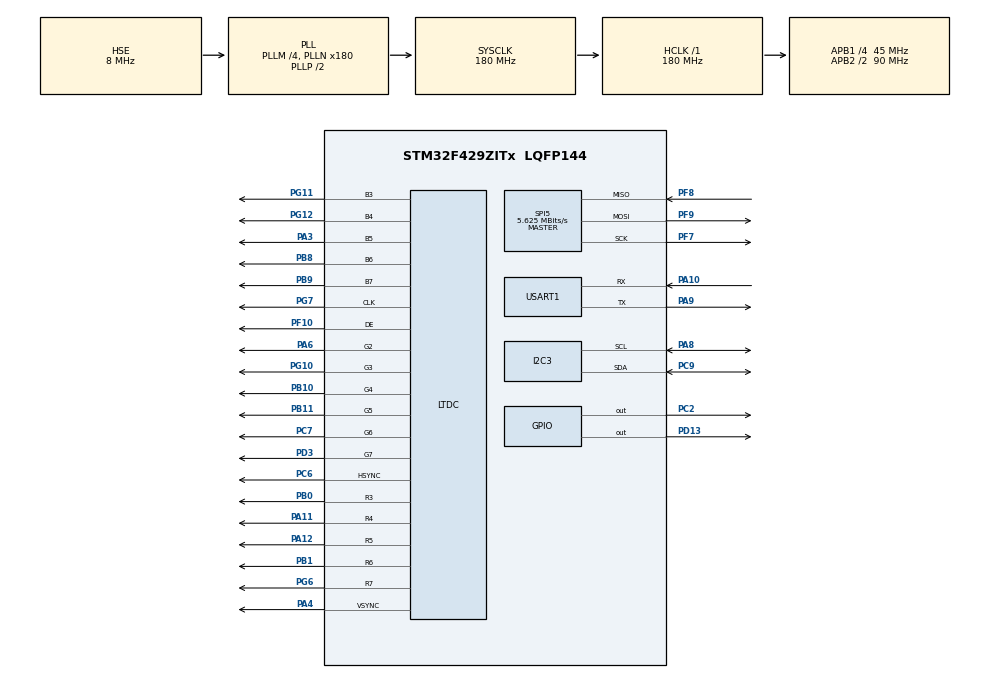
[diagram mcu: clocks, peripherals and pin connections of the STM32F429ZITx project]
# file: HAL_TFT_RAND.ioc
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LTDC.ActiveH=320
LTDC.ActiveW=240
LTDC.Alpha_L0=255
LTDC.HBP=20
LTDC.HFP=10
LTDC.HSync=10
LTDC.ImageHeight_L0=320
LTDC.ImageWidth_L0=240
LTDC.Layers=0
LTDC.PixelFormat_L0=LTDC_PIXEL_FORMAT_RGB565
LTDC.VFP=4
LTDC.VSync=2
LTDC.WindowX1_L0=240
LTDC.WindowY1_L0=320
Mcu.Family=STM32F4
Mcu.Name=STM32F429ZITx
Mcu.Package=LQFP144
NVIC.PriorityGroup=NVIC_PRIORITYGROUP_4
PA10.Mode=Asynchronous
PA10.Signal=USART1_RX
PA11.Mode=RGB565
PA11.Signal=LTDC_R4
PA12.Mode=RGB565
PA12.Signal=LTDC_R5
PA3.Mode=RGB565
PA3.Signal=LTDC_B5
PA4.Mode=RGB565
PA4.Signal=LTDC_VSYNC
PA6.Mode=RGB565
PA6.Signal=LTDC_G2
PA8.Mode=I2C
PA8.Signal=I2C3_SCL
PA9.Mode=Asynchronous
PA9.Signal=USART1_TX
PB0.Mode=RGB565
PB0.Signal=LTDC_R3
PB1.Mode=RGB565
PB1.Signal=LTDC_R6
PB10.Mode=RGB565
PB10.Signal=LTDC_G4
PB11.Mode=RGB565
PB11.Signal=LTDC_G5
PB8.Mode=RGB565
PB8.Signal=LTDC_B6
PB9.Mode=RGB565
PB9.Signal=LTDC_B7
PC2.Signal=GPIO_Output
PC6.Mode=RGB565
PC6.Signal=LTDC_HSYNC
PC7.Mode=RGB565
PC7.Signal=LTDC_G6
PC9.Mode=I2C
PC9.Signal=I2C3_SDA
PD13.Signal=GPIO_Output
PD3.Mode=RGB565
PD3.Signal=LTDC_G7
PF10.Mode=RGB565
PF10.Signal=LTDC_DE
PF7.Mode=Full_Duplex_Master
PF7.Signal=SPI5_SCK
PF8.Mode=Full_Duplex_Master
PF8.Signal=SPI5_MISO
PF9.Mode=Full_Duplex_Master
PF9.Signal=SPI5_MOSI
PG10.Mode=RGB565
PG10.Signal=LTDC_G3
PG11.Mode=RGB565
PG11.Signal=LTDC_B3
PG12.Mode=RGB565
PG12.Signal=LTDC_B4
PG6.Mode=RGB565
PG6.Signal=LTDC_R7
PG7.Mode=RGB565
PG7.Signal=LTDC_CLK
PH0/OSC_IN.Mode=HSE-External-Oscillator
PH0/OSC_IN.Signal=RCC_OSC_IN
PH1/OSC_OUT.Mode=HSE-External-Oscillator
PH1/OSC_OUT.Signal=RCC_OSC_OUT
ProjectManager.HeapSize=0x200
ProjectManager.StackSize=0x400
ProjectManager.TargetToolchain=TrueSTUDIO
RCC.48MHZClocksFreq_Value=90000000
RCC.AHBFreq_Value=180000000
RCC.APB1CLKDivider=RCC_HCLK_DIV4
RCC.APB1Freq_Value=45000000
RCC.APB1TimFreq_Value=90000000
RCC.APB2CLKDivider=RCC_HCLK_DIV2
RCC.APB2Freq_Value=90000000
RCC.APB2TimFreq_Value=180000000
RCC.CortexFreq_Value=180000000
RCC.HCLKFreq_Value=180000000
RCC.HSE_VALUE=8000000
RCC.HSI_VALUE=16000000
RCC.LSE_VALUE=32768
RCC.PLLM=4
RCC.PLLN=180
RCC.PLLSAIDivR=RCC_PLLSAIDIVR_4
RCC.PLLSAIN=60
RCC.PLLSAIR=5
RCC.PLLSourceVirtual=RCC_PLLSOURCE_HSE
RCC.SYSCLKFreq_VALUE=180000000
RCC.SYSCLKSource=RCC_SYSCLKSOURCE_PLLCLK
RCC.VCOOutputFreq_Value=360000000
SPI5.BaudRatePrescaler=SPI_BAUDRATEPRESCALER_16
SPI5.CalculateBaudRate=5.625 MBits/s
SPI5.Direction=SPI_DIRECTION_2LINES
SPI5.Mode=SPI_MODE_MASTER
SPI5.VirtualType=VM_MASTER
USART1.VirtualMode=VM_ASYNC
board=custom

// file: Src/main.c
/* USER CODE BEGIN Header */
/**
  ******************************************************************************
  * @file           : main.c
  * @brief          : Main program body
  ******************************************************************************
  * @attention
  *
  * <h2><center>&copy; Copyright (c) 2019 STMicroelectronics.
  * All rights reserved.</center></h2>
  *
  * This software component is licensed by ST under BSD 3-Clause license,
  * the "License"; You may not use this file except in compliance with the
  * License. You may obtain a copy of the License at:
  *                        opensource.org/licenses/BSD-3-Clause
  *
  ******************************************************************************
  */
/* USER CODE END Header */

#include "main.h"

/* USER CODE BEGIN Includes */
#include "lcd_ili9341.h"
#include "stm32f429i_discovery_ts.h"
#include <stdio.h>
#include <stdlib.h>
/* USER CODE END Includes */

/* USER CODE BEGIN PTD */
#define swap(a,b) {int16_t t=a; a=b; b=t;}
/* USER CODE END PTD */

I2C_HandleTypeDef hi2c3;

LTDC_HandleTypeDef hltdc;

SPI_HandleTypeDef hspi5;

UART_HandleTypeDef huart1;

void SystemClock_Config(void);
static void MX_GPIO_Init(void);
static void MX_LTDC_Init(void);
static void MX_SPI5_Init(void);
static void MX_USART1_UART_Init(void);
static void MX_I2C3_Init(void);
/* USER CODE BEGIN PFP */
int _write(int file, char *ptr, int len)
{
	HAL_UART_Transmit(&huart1, (uint8_t *)ptr, len, 0xFFFFFFFF);
	return len;
}
/* USER CODE END PFP */

/* USER CODE BEGIN 0 */
#define LCD_FRAMEBUFFER_SIZE (LCD_PIXEL_WIDTH * LCD_PIXEL_HEIGHT)
uint16_t frame_buffer[LCD_FRAMEBUFFER_SIZE];

void full_screen(uint16_t color)
{
	for(uint32_t i=0; i<LCD_FRAMEBUFFER_SIZE; i++) {
		frame_buffer[i] = color;
	}
}

void draw_pixel(uint16_t x, uint16_t y, uint16_t color)
{
	frame_buffer[240*y+x] = color;
}

void FillRectangle(uint16_t x1, uint16_t y1, uint16_t x2, uint16_t y2, uint16_t color)
{
	uint16_t xpos, ypos;

	if(x1>x2) swap(x1, x2);
	if(y1>y2) swap(y1, y2);
	for(ypos=y1; ypos<=y2; ypos++) {
		for(xpos=x1; xpos<=x2; xpos++) {
			draw_pixel(xpos, ypos, color);
		}
	}
}

/* USER CODE END 0 */

int main(void)
{

  /* MCU Configuration--------------------------------------------------------*/

  /* Reset of all peripherals, Initializes the Flash interface and the Systick. */
  HAL_Init();

  /* Configure the system clock */
  SystemClock_Config();

  /* USER CODE BEGIN SysInit */
  TS_StateTypeDef stTouch;
  BSP_TS_Init(240, 320);
  /* USER CODE END SysInit */

  /* Initialize all configured peripherals */
  MX_GPIO_Init();
  MX_LTDC_Init();
  MX_SPI5_Init();
  MX_USART1_UART_Init();
  MX_I2C3_Init();
  /* USER CODE BEGIN 2 */
  HAL_GPIO_WritePin(GPIOC, GPIO_PIN_2, GPIO_PIN_SET);
  LCD_PowerOn();
  HAL_LTDC_SetAddress(&hltdc, (uint32_t)frame_buffer, 0);
  /* USER CODE END 2 */

  /* Infinite loop */
  while (1)
  {

    /* USER CODE BEGIN 3 */
	  FillRectangle(rand()%240, rand()%320, rand()%240, rand()%320, rand()%0xFFFF);
	  HAL_Delay(10);

  }
  /* USER CODE END 3 */
}

void SystemClock_Config(void)
{
  RCC_OscInitTypeDef RCC_OscInitStruct = {0};
  RCC_ClkInitTypeDef RCC_ClkInitStruct = {0};
  RCC_PeriphCLKInitTypeDef PeriphClkInitStruct = {0};

  /** Configure the main internal regulator output voltage
  */
  __HAL_RCC_PWR_CLK_ENABLE();
  __HAL_PWR_VOLTAGESCALING_CONFIG(PWR_REGULATOR_VOLTAGE_SCALE1);
  /** Initializes the CPU, AHB and APB busses clocks
  */
  RCC_OscInitStruct.OscillatorType = RCC_OSCILLATORTYPE_HSE;
  RCC_OscInitStruct.HSEState = RCC_HSE_ON;
  RCC_OscInitStruct.PLL.PLLState = RCC_PLL_ON;
  RCC_OscInitStruct.PLL.PLLSource = RCC_PLLSOURCE_HSE;
  RCC_OscInitStruct.PLL.PLLM = 4;
  RCC_OscInitStruct.PLL.PLLN = 180;
  RCC_OscInitStruct.PLL.PLLP = RCC_PLLP_DIV2;
  RCC_OscInitStruct.PLL.PLLQ = 4;
  if (HAL_RCC_OscConfig(&RCC_OscInitStruct) != HAL_OK)
  {
    Error_Handler();
  }
  /** Activate the Over-Drive mode
  */
  if (HAL_PWREx_EnableOverDrive() != HAL_OK)
  {
    Error_Handler();
  }
  /** Initializes the CPU, AHB and APB busses clocks
  */
  RCC_ClkInitStruct.ClockType = RCC_CLOCKTYPE_HCLK|RCC_CLOCKTYPE_SYSCLK
                              |RCC_CLOCKTYPE_PCLK1|RCC_CLOCKTYPE_PCLK2;
  RCC_ClkInitStruct.SYSCLKSource = RCC_SYSCLKSOURCE_PLLCLK;
  RCC_ClkInitStruct.AHBCLKDivider = RCC_SYSCLK_DIV1;
  RCC_ClkInitStruct.APB1CLKDivider = RCC_HCLK_DIV4;
  RCC_ClkInitStruct.APB2CLKDivider = RCC_HCLK_DIV2;

  if (HAL_RCC_ClockConfig(&RCC_ClkInitStruct, FLASH_LATENCY_5) != HAL_OK)
  {
    Error_Handler();
  }
  PeriphClkInitStruct.PeriphClockSelection = RCC_PERIPHCLK_LTDC;
  PeriphClkInitStruct.PLLSAI.PLLSAIN = 60;
  PeriphClkInitStruct.PLLSAI.PLLSAIR = 5;
  PeriphClkInitStruct.PLLSAIDivR = RCC_PLLSAIDIVR_4;
  if (HAL_RCCEx_PeriphCLKConfig(&PeriphClkInitStruct) != HAL_OK)
  {
    Error_Handler();
  }
}

static void MX_I2C3_Init(void)
{

  hi2c3.Instance = I2C3;
  hi2c3.Init.ClockSpeed = 100000;
  hi2c3.Init.DutyCycle = I2C_DUTYCYCLE_2;
  hi2c3.Init.OwnAddress1 = 0;
  hi2c3.Init.AddressingMode = I2C_ADDRESSINGMODE_7BIT;
  hi2c3.Init.DualAddressMode = I2C_DUALADDRESS_DISABLE;
  hi2c3.Init.OwnAddress2 = 0;
  hi2c3.Init.GeneralCallMode = I2C_GENERALCALL_DISABLE;
  hi2c3.Init.NoStretchMode = I2C_NOSTRETCH_DISABLE;
  if (HAL_I2C_Init(&hi2c3) != HAL_OK)
  {
    Error_Handler();
  }
  /** Configure Analogue filter
  */
  if (HAL_I2CEx_ConfigAnalogFilter(&hi2c3, I2C_ANALOGFILTER_ENABLE) != HAL_OK)
  {
    Error_Handler();
  }
  /** Configure Digital filter
  */
  if (HAL_I2CEx_ConfigDigitalFilter(&hi2c3, 0) != HAL_OK)
  {
    Error_Handler();
  }

}

static void MX_LTDC_Init(void)
{

  LTDC_LayerCfgTypeDef pLayerCfg = {0};

  hltdc.Instance = LTDC;
  hltdc.Init.HSPolarity = LTDC_HSPOLARITY_AL;
  hltdc.Init.VSPolarity = LTDC_VSPOLARITY_AL;
  hltdc.Init.DEPolarity = LTDC_DEPOLARITY_AL;
  hltdc.Init.PCPolarity = LTDC_PCPOLARITY_IPC;
  hltdc.Init.HorizontalSync = 9;
  hltdc.Init.VerticalSync = 1;
  hltdc.Init.AccumulatedHBP = 29;
  hltdc.Init.AccumulatedVBP = 3;
  hltdc.Init.AccumulatedActiveW = 269;
  hltdc.Init.AccumulatedActiveH = 323;
  hltdc.Init.TotalWidth = 279;
  hltdc.Init.TotalHeigh = 327;
  hltdc.Init.Backcolor.Blue = 0;
  hltdc.Init.Backcolor.Green = 0;
  hltdc.Init.Backcolor.Red = 0;
  if (HAL_LTDC_Init(&hltdc) != HAL_OK)
  {
    Error_Handler();
  }
  pLayerCfg.WindowX0 = 0;
  pLayerCfg.WindowX1 = 240;
  pLayerCfg.WindowY0 = 0;
  pLayerCfg.WindowY1 = 320;
  pLayerCfg.PixelFormat = LTDC_PIXEL_FORMAT_RGB565;
  pLayerCfg.Alpha = 255;
  pLayerCfg.Alpha0 = 0;
  pLayerCfg.BlendingFactor1 = LTDC_BLENDING_FACTOR1_CA;
  pLayerCfg.BlendingFactor2 = LTDC_BLENDING_FACTOR2_CA;
  pLayerCfg.FBStartAdress = 0;
  pLayerCfg.ImageWidth = 240;
  pLayerCfg.ImageHeight = 320;
  pLayerCfg.Backcolor.Blue = 0;
  pLayerCfg.Backcolor.Green = 0;
  pLayerCfg.Backcolor.Red = 0;
  if (HAL_LTDC_ConfigLayer(&hltdc, &pLayerCfg, 0) != HAL_OK)
  {
    Error_Handler();
  }

}

static void MX_SPI5_Init(void)
{

  /* SPI5 parameter configuration*/
  hspi5.Instance = SPI5;
  hspi5.Init.Mode = SPI_MODE_MASTER;
  hspi5.Init.Direction = SPI_DIRECTION_2LINES;
  hspi5.Init.DataSize = SPI_DATASIZE_8BIT;
  hspi5.Init.CLKPolarity = SPI_POLARITY_LOW;
  hspi5.Init.CLKPhase = SPI_PHASE_1EDGE;
  hspi5.Init.NSS = SPI_NSS_SOFT;
  hspi5.Init.BaudRatePrescaler = SPI_BAUDRATEPRESCALER_16;
  hspi5.Init.FirstBit = SPI_FIRSTBIT_MSB;
  hspi5.Init.TIMode = SPI_TIMODE_DISABLE;
  hspi5.Init.CRCCalculation = SPI_CRCCALCULATION_DISABLE;
  hspi5.Init.CRCPolynomial = 10;
  if (HAL_SPI_Init(&hspi5) != HAL_OK)
  {
    Error_Handler();
  }

}

static void MX_USART1_UART_Init(void)
{

  huart1.Instance = USART1;
  huart1.Init.BaudRate = 115200;
  huart1.Init.WordLength = UART_WORDLENGTH_8B;
  huart1.Init.StopBits = UART_STOPBITS_1;
  huart1.Init.Parity = UART_PARITY_NONE;
  huart1.Init.Mode = UART_MODE_TX_RX;
  huart1.Init.HwFlowCtl = UART_HWCONTROL_NONE;
  huart1.Init.OverSampling = UART_OVERSAMPLING_16;
  if (HAL_UART_Init(&huart1) != HAL_OK)
  {
    Error_Handler();
  }

}

static void MX_GPIO_Init(void)
{
  GPIO_InitTypeDef GPIO_InitStruct = {0};

  /* GPIO Ports Clock Enable */
  __HAL_RCC_GPIOF_CLK_ENABLE();
  __HAL_RCC_GPIOH_CLK_ENABLE();
  __HAL_RCC_GPIOC_CLK_ENABLE();
  __HAL_RCC_GPIOA_CLK_ENABLE();
  __HAL_RCC_GPIOB_CLK_ENABLE();
  __HAL_RCC_GPIOD_CLK_ENABLE();
  __HAL_RCC_GPIOG_CLK_ENABLE();

  /*Configure GPIO pin Output Level */
  HAL_GPIO_WritePin(GPIOC, GPIO_PIN_2, GPIO_PIN_RESET);

  /*Configure GPIO pin Output Level */
  HAL_GPIO_WritePin(GPIOD, GPIO_PIN_13, GPIO_PIN_RESET);

  /*Configure GPIO pin : PC2 */
  GPIO_InitStruct.Pin = GPIO_PIN_2;
  GPIO_InitStruct.Mode = GPIO_MODE_OUTPUT_PP;
  GPIO_InitStruct.Pull = GPIO_NOPULL;
  GPIO_InitStruct.Speed = GPIO_SPEED_FREQ_LOW;
  HAL_GPIO_Init(GPIOC, &GPIO_InitStruct);

  /*Configure GPIO pin : PD13 */
  GPIO_InitStruct.Pin = GPIO_PIN_13;
  GPIO_InitStruct.Mode = GPIO_MODE_OUTPUT_PP;
  GPIO_InitStruct.Pull = GPIO_NOPULL;
  GPIO_InitStruct.Speed = GPIO_SPEED_FREQ_LOW;
  HAL_GPIO_Init(GPIOD, &GPIO_InitStruct);

}

void Error_Handler(void)
{
}

/************************ (C) COPYRIGHT STMicroelectronics *****END OF FILE****/
